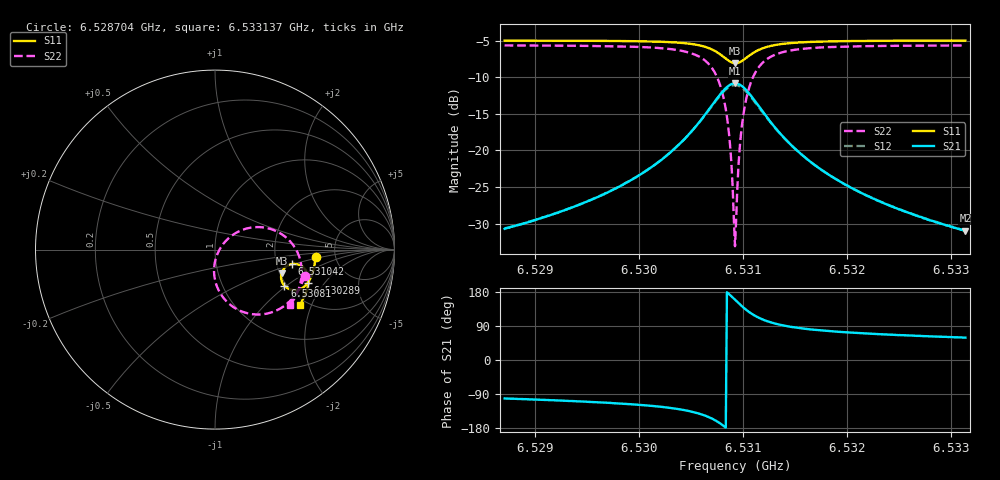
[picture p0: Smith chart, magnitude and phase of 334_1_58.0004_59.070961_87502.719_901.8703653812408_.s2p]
#  HZ  S  RI  R  50.00
! Rohde & Schwarz Vector Network Analyzer
! Rohde-Schwarz,ZNB20-2Port,1311601062101988,3.16
! Created: UTC 3/21/2024, 1:05:13 AM
! freq[Hz]  re:S11  im:S11  re:S21  im:S21  re:S12  im:S12  re:S22  im:S22
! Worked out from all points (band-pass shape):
!   401 points, 6.528704 GHz to 6.533137 GHz, reference 50 ohm
!   highest |S21| = -10.84 dB at 6.53092 GHz (marker M1); lowest = -31.0 dB at 6.533137 GHz (marker M2)
!   |S21| within 3 dB of the highest: 6.530699 GHz to 6.531142 GHz (443.1 kHz wide, 0.00678 % of centre)
!   lowest |S11| = -8.1 dB at 6.53092 GHz (marker M3), VSWR 2.30, Z = 102 - j31.9 ohm
!   |S11| at or under -10 dB: nowhere
!   |S22| runs from -33.1 to -5.7 dB; largest |S21 - S12| = 0.011
!   S11 on the Smith chart (normalised r, x): 6.528704 GHz: 3.51, -0.42; 6.530289 GHz: 2.61, -1.38; 6.53081 GHz: 1.95, -0.97; 6.531042 GHz: 2.43, -0.48; 6.533137 GHz: 1.83, -1.65
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6.5287044e9  0.56 -0.0413  -0.00581 -0.0286  -0.00634 -0.0286  0.5005 -0.1458
6.5294468e9  0.5511 -0.1023  -0.0144 -0.0407  -0.0154 -0.0406  0.4721 -0.2133
6.5301891e9  0.5246 -0.1738  -0.0456 -0.0704  -0.0475 -0.0692  0.3958 -0.3061
6.5302889e9  0.517 -0.1853  -0.0565 -0.0771  -0.0585 -0.0756  0.373 -0.3225
6.5306434e9  0.4545 -0.225  -0.1522 -0.0953  -0.1544 -0.0893  0.1907 -0.3569
6.5307432e9  0.4157 -0.2208  -0.2122 -0.0721  -0.2119 -0.0635  0.088 -0.3094
6.5308096e9  0.3869 -0.201  -0.2551 -0.0281  -0.2511 -0.0188  0.0212 -0.2286
6.5308429e9  0.3755 -0.184  -0.2706 0.00559  -0.2646 0.0143  0.000203 -0.1699
6.530865e9  0.3704 -0.1702  -0.2764 0.0318  -0.2689 0.0394  -0.00533 -0.1254
6.5308983e9  0.3683 -0.1472  -0.2758 0.0743  -0.2664 0.0799  0.00273 -0.0551
6.5309094e9  0.3692 -0.1394  -0.2727 0.0886  -0.2631 0.0933  0.0101 -0.0324
6.5309204e9  0.371 -0.1317  -0.268 0.1027  -0.2584 0.1064  0.0198 -0.01
6.5309315e9  0.3737 -0.1241  -0.2623 0.1161  -0.2525 0.1189  0.0316 0.0112
6.5309426e9  0.3771 -0.117  -0.2551 0.1287  -0.2455 0.1308  0.0453 0.0309
6.5309648e9  0.3861 -0.1042  -0.2374 0.1516  -0.2283 0.1519  0.078 0.0655
6.5309869e9  0.3971 -0.094  -0.2167 0.1698  -0.2082 0.169  0.1152 0.0924
6.5310423e9  0.4284 -0.0805  -0.1599 0.1948  -0.1542 0.1921  0.2135 0.1244
6.5311199e9  0.4668 -0.084  -0.0924 0.1928  -0.0895 0.1903  0.3269 0.1088
6.5312307e9  0.499 -0.1064  -0.0355 0.1632  -0.034 0.1619  0.4194 0.0449
6.5316628e9  0.5203 -0.1821  0.0138 0.0807  0.0148 0.0805  0.4832 -0.1307
6.5324052e9  0.5002 -0.2548  0.0165 0.0387  0.0172 0.0385  0.4555 -0.246
6.5331365e9  0.4719 -0.3081  0.0146 0.0243  0.015 0.0241  0.4199 -0.3084
